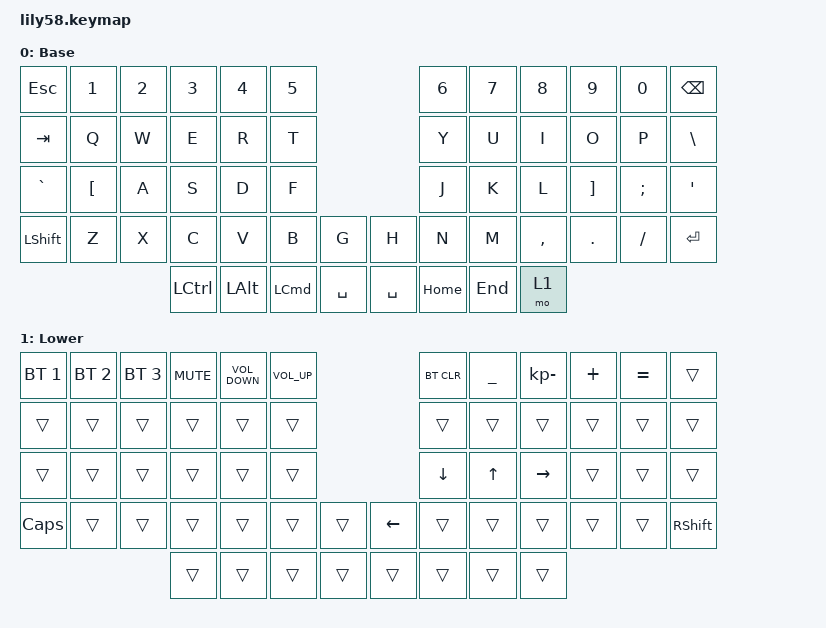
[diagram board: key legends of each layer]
/*
 * Copyright (c) 2020 The ZMK Contributors
 *
 * SPDX-License-Identifier: MIT
 */

#include <behaviors.dtsi>
#include <dt-bindings/zmk/bt.h>
#include <dt-bindings/zmk/keys.h>

/ {
    keymap {
        compatible = "zmk,keymap";

        default_layer {
            // ------------------------------------------------------------------------------------------------------------
            // |  ESC  |  1  |  2  |  3   |  4   |  5   |                   |  6   |  7    |  8    |  9   |   0   |   `   |
            // |  TAB  |  Q  |  W  |  E   |  R   |  T   |                   |  Y   |  U    |  I    |  O   |   P   |   -   |
            // |  CTRL |  A  |  S  |  D   |  F   |  G   |                   |  H   |  J    |  K    |  L   |   ;   |   '   |
            // | SHIFT |  Z  |  X  |  C   |  V   |  B   |   "["  |  |  "]"  |  N   |  M    |  ,    |  .   |   /   | SHIFT |
            //                     | ALT  | GUI  | LOWER|  SPACE |  | ENTER | RAISE| BSPC  | GUI   |

            display-name = "Base";
            bindings = <
&kp ESC    &kp N1            &kp N2  &kp N3            &kp N4        &kp N5                                    &kp N6    &kp N7   &kp N8     &kp N9             &kp N0         &kp BACKSPACE
&kp TAB    &kp Q             &kp W   &kp E             &kp R         &kp T                                     &kp Y     &kp U    &kp I      &kp O              &kp P          &kp BACKSLASH
&kp GRAVE  &kp LEFT_BRACKET  &kp A   &kp S             &kp D         &kp F                                     &kp J     &kp K    &kp L      &kp RIGHT_BRACKET  &kp SEMICOLON  &kp SQT
&kp LSHFT  &kp Z             &kp X   &kp C             &kp V         &kp B             &kp G        &kp H      &kp N     &kp M    &kp COMMA  &kp DOT            &kp FSLH       &kp ENTER
                                     &kp LEFT_CONTROL  &kp LEFT_ALT  &kp LEFT_COMMAND  &kp SPACE    &kp SPACE  &kp HOME  &kp END  &mo 1
            >;
        };

        lower_layer {
            // ------------------------------------------------------------------------------------------------------------
            // | BTCLR | BT1 | BT2 |  BT3 |  BT4 |  BT5 |                   |      |       |       |      |       |       |
            // |  F1   |  F2 |  F3 |  F4  |  F5  |  F6  |                   |  F7  |  F8   |  F9   |  F10 |  F11  |  F12  |
            // |   `   |  !  |  @  |  #   |  $   |  %   |                   |  ^   |  &    |  *    |  (   |   )   |   ~   |
            // |       |     |     |      |      |      |        |  |       |      |  _    |  +    |  {   |   }   |  "|"  |
            //                     |      |      |      |        |  |       |      |       |       |

            display-name = "Lower";
            bindings = <
&bt BT_SEL 1  &bt BT_SEL 2  &bt BT_SEL 3  &kp K_MUTE  &kp C_VOLUME_DOWN  &kp C_VOLUME_UP                            &bt BT_CLR      &kp UNDERSCORE  &kp KP_MINUS  &kp PLUS  &kp EQUAL  &trans
&trans        &trans        &trans        &trans      &trans             &trans                                     &trans          &trans          &trans        &trans    &trans     &trans
&trans        &trans        &trans        &trans      &trans             &trans                                     &kp DOWN_ARROW  &kp UP_ARROW    &kp RIGHT     &trans    &trans     &trans
&kp CAPS      &trans        &trans        &trans      &trans             &trans           &trans    &kp LEFT_ARROW  &trans          &trans          &trans        &trans    &trans     &kp RIGHT_SHIFT
                                          &trans      &trans             &trans           &trans    &trans          &trans          &trans          &trans
            >;
        };
    };
};
